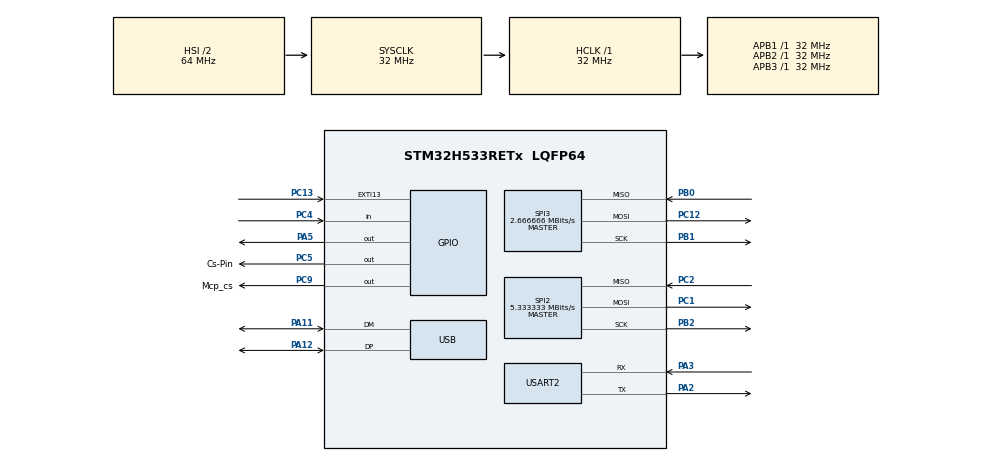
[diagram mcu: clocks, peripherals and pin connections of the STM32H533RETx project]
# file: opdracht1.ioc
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BOOTPATH.BootPathName=LEGACY
BOOTPATH.UserSelectedBootPath=LEGACY
CORTEX_M33_NS.userName=CORTEX_M33
Mcu.Family=STM32H5
Mcu.Name=STM32H533RETx
Mcu.Package=LQFP64
NUCLEO-H533RE.BUTTON=1
NUCLEO-H533RE.LD4=true
NUCLEO-H533RE.VCP=false
NVIC.EXTI13_IRQn=true\:0\:0\:false\:false\:true\:false\:true\:true
NVIC.PriorityGroup=NVIC_PRIORITYGROUP_4
NVIC.SPI3_IRQn=true\:0\:0\:false\:false\:true\:true\:true\:true
NVIC.USB_DRD_FS_IRQn=true\:0\:0\:false\:false\:true\:true\:true\:true
PA11.Mode=Device
PA11.Signal=USB_DM
PA12.Mode=Device
PA12.Signal=USB_DP
PA13(JTMS/SWDIO).GPIO_Label=SWDIO
PA13(JTMS/SWDIO).Signal=DEBUG_JTMS-SWDIO
PA14(JTCK/SWCLK).GPIO_Label=SWCLK
PA14(JTCK/SWCLK).Signal=DEBUG_JTCK-SWCLK
PA15(JTDI).GPIO_Label=JTDI
PA15(JTDI).Signal=DEBUG_JTDI
PA2.Mode=Asynchronous
PA2.Signal=USART2_TX
PA3.Mode=Asynchronous
PA3.Signal=USART2_RX
PA5.Signal=GPIO_Output
PB0.Mode=Full_Duplex_Master
PB0.Signal=SPI3_MISO
PB1.Mode=Full_Duplex_Master
PB1.Signal=SPI3_SCK
PB2.Mode=Full_Duplex_Master
PB2.Signal=SPI2_SCK
PB3(JTDO/TRACESWO).GPIO_Label=SWO
PB3(JTDO/TRACESWO).Signal=DEBUG_JTDO-SWO
PC1.Mode=Full_Duplex_Master
PC1.Signal=SPI2_MOSI
PC12.Mode=Full_Duplex_Master
PC12.Signal=SPI3_MOSI
PC13.Signal=GPXTI13
PC2.Mode=Full_Duplex_Master
PC2.Signal=SPI2_MISO
PC4.Signal=GPIO_Input
PC5.GPIO_Label=Cs-Pin
PC5.PinState=GPIO_PIN_SET
PC5.Signal=GPIO_Output
PC9.GPIO_Label=Mcp_cs
PC9.GPIO_PuPd=GPIO_NOPULL
PC9.PinState=GPIO_PIN_SET
PC9.Signal=GPIO_Output
ProjectManager.HeapSize=0x200
ProjectManager.StackSize=0x400
ProjectManager.TargetToolchain=MDK-ARM V5.37
RCC.ADCFreq_Value=32000000
RCC.AHBFreq_Value=32000000
RCC.APB1Freq_Value=32000000
RCC.APB1TimFreq_Value=32000000
RCC.APB2Freq_Value=32000000
RCC.APB2TimFreq_Value=32000000
RCC.APB3Freq_Value=32000000
RCC.CSI_VALUE=4000000
RCC.CortexFreq_Value=32000000
RCC.EPOD_VALUE=4000000
RCC.HCLKFreq_Value=32000000
RCC.HSE_VALUE=25000000
RCC.HSI48_VALUE=48000000
RCC.HSI_VALUE=64000000
RCC.LSE_VALUE=32768
RCC.LSIRC_VALUE=32000
RCC.PLL1Q=3
RCC.PLLFRACN=0
RCC.PLLN=32
RCC.SYSCLKFreq_VALUE=32000000
RCC.USBFreq_Value=48000000
RCC.VCOOutputFreq_Value=128000000
SPI2.BaudRatePrescaler=SPI_BAUDRATEPRESCALER_8
SPI2.CalculateBaudRate=5.333333 MBits/s
SPI2.DataSize=SPI_DATASIZE_8BIT
SPI2.Direction=SPI_DIRECTION_2LINES
SPI2.Mode=SPI_MODE_MASTER
SPI2.VirtualType=VM_MASTER
SPI3.BaudRatePrescaler=SPI_BAUDRATEPRESCALER_16
SPI3.CalculateBaudRate=2.666666 MBits/s
SPI3.DataSize=SPI_DATASIZE_8BIT
SPI3.Direction=SPI_DIRECTION_2LINES
SPI3.Mode=SPI_MODE_MASTER
SPI3.VirtualType=VM_MASTER
USART2.VirtualMode-Asynchronous=VM_ASYNC
USB.VirtualMode=Device_Only
VP_BOOTPATH_VS_BOOTPATH.Mode=BP_Activate
VP_CORTEX_M33_NS_VS_Hclk.Mode=Hclk_Mode
VP_ICACHE_VS_ENABLE_ICACHE_MEMORY.Mode=Memoryregions
VP_MEMORYMAP_VS_MEMORYMAP.Mode=CurAppReg
VP_NUCLEO-H533RE_VS_BSP_COMMON.Mode=COMMON
VP_PWR_VS_LPOM.Mode=PowerOptimisation
VP_PWR_VS_SECSignals.Mode=Security/Privilege
board=NUCLEO-H533RE

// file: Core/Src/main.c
/* USER CODE BEGIN Header */
/**
  ******************************************************************************
  * @file           : main.c
  * @brief          : Main program body
  ******************************************************************************
  * @attention
  *
  * Copyright (c) 2026 STMicroelectronics.
  * All rights reserved.
  *
  * This software is licensed under terms that can be found in the LICENSE file
  * in the root directory of this software component.
  * If no LICENSE file comes with this software, it is provided AS-IS.
  *
  ******************************************************************************
  */
/* USER CODE END Header */
#include "main.h"

/* USER CODE BEGIN Includes */
#include "tusb.h"
#include <stdio.h>
#include <stdbool.h>
#include <string.h>
/* USER CODE END Includes */

/* USER CODE BEGIN PD */
#define SPI_IO_TIMEOUT_MS 50U

/* USER CODE END PD */

SPI_HandleTypeDef hspi2;
SPI_HandleTypeDef hspi3;

UART_HandleTypeDef huart2;

PCD_HandleTypeDef hpcd_USB_DRD_FS;

/* USER CODE BEGIN PV */

// ============================================================
// TOESTAND VAN ELKE KNOP IN DE MATRIX
// ============================================================
// Voor elke knop houden we vier dingen bij in een struct:
typedef struct {
  bool current_state;        // Huidige toestand: true = ingedrukt, false = losgelaten
  bool previous_state;       // Vorige toestand (om te zien of er iets veranderd is)
  uint32_t last_change_time; // Tijdstip (ms) waarop de toestand voor het laatst veranderde
  bool debounce_stable;      // true = toestandsverandering is stabiel en mag verwerkt worden
} ButtonState_t;

// Tweedimensionaal array: één ButtonState_t per knop [rij][kolom]
ButtonState_t button_matrix[MATRIX_ROWS][MATRIX_COLS];

/* USER CODE END PV */

void SystemClock_Config(void);
static void MX_GPIO_Init(void);
static void MX_USB_PCD_Init(void);
static void MX_SPI2_Init(void);
static void MX_USART2_UART_Init(void);
static void MX_ICACHE_Init(void);
static void MX_SPI3_Init(void);
/* USER CODE BEGIN PFP */
void MCP23S17_WriteRegister(uint8_t reg, uint8_t value);
uint8_t MCP23S17_ReadRegister(uint8_t reg);
void MCP23S17_Init(void);
void ScanButtonMatrix(void);
void ProcessButtonEvents(void);
/* USER CODE END PFP */

/* USER CODE BEGIN 0 */

// TinyUSB requires this function for timing
uint32_t tusb_time_millis_api(void) {
  return HAL_GetTick();
}

/**
 * @brief Print debug message via UART2
 * @param msg: String to print
 */
void Debug_Print(const char* msg) {
  HAL_UART_Transmit(&huart2, (uint8_t*)msg, strlen(msg), 100);
}

/**
 * @brief Print debug message with number
 * @param msg: String to print
 * @param num: Number to print
 */
void Debug_PrintNum(const char* msg, uint8_t num) {
  char buffer[100];
  snprintf(buffer, sizeof(buffer), "%s%d\r\n", msg, num);
  Debug_Print(buffer);
}

/**
 * @brief Write a value to an MCP23S17 register
 * @param reg: Register address
 * @param value: Value to write
 */
void MCP23S17_WriteRegister(uint8_t reg, uint8_t value) {
  uint8_t tx_data[3];

  tx_data[0] = MCP23S17_WRITE_CMD;  // Control byte (write)
  tx_data[1] = reg;                  // Register address
  tx_data[2] = value;                // Data to write

  // Pull CS low
  HAL_GPIO_WritePin(Mcp_cs_GPIO_Port, Mcp_cs_Pin, GPIO_PIN_RESET);

  // Small delay for CS to settle (tCSS = 50ns min)
  for(volatile int i = 0; i < 10; i++);

  // Send data via SPI
  if (HAL_SPI_Transmit(&hspi3, tx_data, 3, SPI_IO_TIMEOUT_MS) != HAL_OK) {
    HAL_GPIO_WritePin(Mcp_cs_GPIO_Port, Mcp_cs_Pin, GPIO_PIN_SET);
    return;
  }

  // Small delay before CS high (tCSH = 50ns min)
  for(volatile int i = 0; i < 10; i++);

  // Pull CS high
  HAL_GPIO_WritePin(Mcp_cs_GPIO_Port, Mcp_cs_Pin, GPIO_PIN_SET);

  // CS disable time (tCSD = 50ns min)
  for(volatile int i = 0; i < 10; i++);
}

/**
 * @brief Read a value from an MCP23S17 register
 * @param reg: Register address
 * @return Value read from register
 */
uint8_t MCP23S17_ReadRegister(uint8_t reg) {
  uint8_t tx_data[3] = {MCP23S17_READ_CMD, reg, 0x00};
  uint8_t rx_data[3] = {0};

  // Pull CS low
  HAL_GPIO_WritePin(Mcp_cs_GPIO_Port, Mcp_cs_Pin, GPIO_PIN_RESET);

  // Small delay for CS to settle (tCSS = 50ns min)
  for(volatile int i = 0; i < 10; i++);

  // Send read command + register and clock out one data byte
  if (HAL_SPI_TransmitReceive(&hspi3, tx_data, rx_data, 3, SPI_IO_TIMEOUT_MS) != HAL_OK) {
    HAL_GPIO_WritePin(Mcp_cs_GPIO_Port, Mcp_cs_Pin, GPIO_PIN_SET);
    return 0xFF;
  }

  // Small delay before CS high (tCSH = 50ns min)
  for(volatile int i = 0; i < 10; i++);

  // Pull CS high
  HAL_GPIO_WritePin(Mcp_cs_GPIO_Port, Mcp_cs_Pin, GPIO_PIN_SET);

  // CS disable time (tCSD = 50ns min)
  for(volatile int i = 0; i < 10; i++);

  return rx_data[2];
}

/**
 * @brief Initialize the MCP23S17 for button matrix scanning
 */
void MCP23S17_Init(void) {
  // Small delay for MCP23S17 power-up
  HAL_Delay(100);  // Verhoogd naar 100ms voor stabiele startup

  // Debug: Show what opcodes we're using
  char opcode_debug[100];
  snprintf(opcode_debug, sizeof(opcode_debug),
    "  Using opcodes: WRITE=0x%02X, READ=0x%02X\r\n",
    MCP23S17_WRITE_CMD, MCP23S17_READ_CMD);
  Debug_Print(opcode_debug);

  Debug_Print("  Configuring IOCON (trying HAEN=1 first)...\r\n");
  // PROBEER EERST MET HAEN=1 (bit 3)
  // BANK=0, MIRROR=0, SEQOP=0, DISSLW=0, HAEN=1, ODR=0, INTPOL=0
  MCP23S17_WriteRegister(MCP23S17_IOCON, 0x08); // HAEN enabled
  HAL_Delay(10);

  // Test of het werkt
  uint8_t iocon_test = MCP23S17_ReadRegister(MCP23S17_IOCON);
  snprintf(opcode_debug, sizeof(opcode_debug),
    "  IOCON readback: 0x%02X (wrote 0x08)\r\n", iocon_test);
  Debug_Print(opcode_debug);

  if (iocon_test == 0xFF || iocon_test == 0x00) {
    Debug_Print("  HAEN=1 failed, trying HAEN=0...\r\n");
    MCP23S17_WriteRegister(MCP23S17_IOCON, 0x00); // HAEN disabled
    HAL_Delay(10);
  }

  Debug_Print("  Configuring PORTA as outputs...\r\n");
  // Configure Port A (GPA0-GPA3) as OUTPUTS for columns
  MCP23S17_WriteRegister(MCP23S17_IODIRA, 0x00); // All outputs

  Debug_Print("  Configuring PORTB as inputs...\r\n");
  // Configure Port B (GPB0-GPB3) as INPUTS for rows
  MCP23S17_WriteRegister(MCP23S17_IODIRB, 0x0F); // Lower 4 bits as inputs

  Debug_Print("  Enabling pull-ups on PORTB...\r\n");
  // Enable internal pull-up resistors on Port B (rows)
  MCP23S17_WriteRegister(MCP23S17_GPPUB, 0x0F); // Pull-ups on GPB0-GPB3

  Debug_Print("  Setting all columns HIGH...\r\n");
  // Set all columns HIGH initially (inactive state)
  MCP23S17_WriteRegister(MCP23S17_GPIOA, 0xFF);

  // TEST: Lees configuratie terug om te verifiëren
  Debug_Print("\r\n  === VERIFICATION READS ===\r\n");

  uint8_t test_iocon = MCP23S17_ReadRegister(MCP23S17_IOCON);
  uint8_t test_iodira = MCP23S17_ReadRegister(MCP23S17_IODIRA);
  uint8_t test_iodirb = MCP23S17_ReadRegister(MCP23S17_IODIRB);
  uint8_t test_gppub = MCP23S17_ReadRegister(MCP23S17_GPPUB);
  uint8_t test_gpioa = MCP23S17_ReadRegister(MCP23S17_GPIOA);
  uint8_t test_gpiob = MCP23S17_ReadRegister(MCP23S17_GPIOB);

  char buf[100];
  snprintf(buf, sizeof(buf), "  IOCON: 0x%02X (expect 0x00)\r\n", test_iocon);
  Debug_Print(buf);
  snprintf(buf, sizeof(buf), "  IODIRA: 0x%02X (expect 0x00 = outputs)\r\n", test_iodira);
  Debug_Print(buf);
  snprintf(buf, sizeof(buf), "  IODIRB: 0x%02X (expect 0x0F = inputs bits 0-3)\r\n", test_iodirb);
  Debug_Print(buf);
  snprintf(buf, sizeof(buf), "  GPPUB: 0x%02X (expect 0x0F = pull-ups on)\r\n", test_gppub);
  Debug_Print(buf);
  snprintf(buf, sizeof(buf), "  GPIOA: 0x%02X (expect 0xFF = all HIGH)\r\n", test_gpioa);
  Debug_Print(buf);
  snprintf(buf, sizeof(buf), "  GPIOB: 0x%02X (expect 0x0F = all HIGH with pull-ups)\r\n", test_gpiob);
  Debug_Print(buf);

  // SPI communicatie diagnose
  if (test_iodira == 0xFF && test_iodirb == 0xFF) {
    Debug_Print("\r\n  *** ERROR: SPI reads all 0xFF - possible no device! ***\r\n");
  } else if (test_iodira == 0x00 && test_iodirb == 0x00 && test_gppub == 0x00) {
    Debug_Print("\r\n  *** ERROR: SPI reads all 0x00 - check SPI wiring! ***\r\n");
  } else if (test_gpiob != 0x0F) {
    Debug_Print("\r\n  *** WARNING: GPIOB not 0x0F - check pull-ups or wiring! ***\r\n");
  } else {
    Debug_Print("\r\n  *** SUCCESS: MCP23S17 configured correctly! ***\r\n");
  }
  Debug_Print("\r\n");
}

/**
 * @brief Scan de 4x4 knoppenmatrix en sla de knoptoestanden op.
 *
 * HOE WERKT EEN KNOPPENMATRIX?
 * De matrix heeft 4 kolommen (uitgangen) en 4 rijen (ingangen).
 * We activeren één kolom tegelijk door die LOW te zetten.
 * Daarna lezen we de 4 rijen: als een knop in die kolom ingedrukt
 * is, verbindt hij de rij met de lage kolom → de rij leest LOW.
 * Zo bepalen we voor elke knop of hij ingedrukt is.
 */
void ScanButtonMatrix(void) {
  static uint32_t last_scan = 0;
  static uint32_t last_debug = 0;
  static bool debug_printed = false;
  uint32_t now = HAL_GetTick(); // Huidig tijdstip in milliseconden

  // Scan maar elke 5 ms om de processor niet onnodig te belasten
  if (now - last_scan < 5) {
    return; // Nog geen 5 ms verstreken → sla deze scan over
  }
  last_scan = now;

  // Print debug info elke 5 seconden
  bool print_debug = (now - last_debug > 5000);
  if (print_debug) {
    Debug_Print("\r\n--- Matrix Scan Debug ---\r\n");
    last_debug = now;
  }

  for (uint8_t col = 0; col < MATRIX_COLS; col++) {
    // Stap 1: Zet de actieve kolom LOW, alle andere kolommen HIGH.
    // Voorbeeld: col=0 → col_pattern = 0b11111110
    // Alleen bit 0 is laag, de rest hoog.
    uint8_t col_pattern = ~(1 << col);
    MCP23S17_WriteRegister(MCP23S17_GPIOA, col_pattern);

    // Kleine vertraging zodat het signaal stabiel is voor we lezen
    for(volatile int i = 0; i < 100; i++); // ca. 10 microseconden

    // Stap 2: Lees de 4 rijwaarden van Port B.
    // Elke bit staat voor één rij: 0 = laag (knop ingedrukt), 1 = hoog (niet ingedrukt).
    uint8_t row_values = MCP23S17_ReadRegister(MCP23S17_GPIOB);

    if (print_debug && col == 0) {
      char buf[80];
      snprintf(buf, sizeof(buf), "Col %d: Write=0x%02X, Read GPIOB=0x%02X\r\n", col, col_pattern, row_values);
      Debug_Print(buf);
    }

    // Stap 3: Controleer elke rij
    for (uint8_t row = 0; row < MATRIX_ROWS; row++) {
      // De knop is ingedrukt als de bijbehorende bit LOW is (logische inversie!).
      // '!' keert de waarde om: LOW (0) wordt true (ingedrukt).
      bool is_pressed = !(row_values & (1 << row));

      ButtonState_t* btn = &button_matrix[row][col]; // Verwijzing naar deze knop

      // --- DEBOUNCE LOGICA ---
      // Mechanische knoppen 'stuiteren' even bij indrukken/loslaten.
      // We accepteren een toestandsverandering pas als die minstens
      // DEBOUNCE_TIME_MS milliseconden stabiel is.
      if (is_pressed != btn->current_state) {
        // Er is een verschil met de vorige toestand
        if ((now - btn->last_change_time) > DEBOUNCE_TIME_MS) {
          // Genoeg tijd verstreken → toestandsverandering is echt
          btn->previous_state = btn->current_state;
          btn->current_state = is_pressed;   // Sla nieuwe toestand op
          btn->last_change_time = now;        // Onthoud het tijdstip
          btn->debounce_stable = true;        // Klaarzetten voor verwerking

          // DEBUG: Knippert de LED bij elke knopverandering
          BSP_LED_Toggle(LED_GREEN);
        }
      }
    }
  }

  // Deactiveer alle kolommen na de scan (alles hoog = inactief)
  MCP23S17_WriteRegister(MCP23S17_GPIOA, 0xFF);
}

/**
 * @brief Verwerk knoptoestandsveranderingen en stuur MIDI-berichten.
 *
 * MIDI NOOT-MAPPING:
 * Elke knop in de matrix krijgt een uniek MIDI-nootnummer.
 * Formule:  midi_noot = BASIS_NOOT + (rij x 4) + kolom
 *
 * Uitleg van de formule:
 *  - BASIS_NOOT (60) is het startpunt = Midden C (C4).
 *  - (rij x 4): elke rij telt 4 kolommen, dus elke rij lager
 *    verhoogt de noot met 4 halve tonen.
 *  - kolom: elke stap naar rechts verhoogt de noot met 1 halve toon.
 *
 * Voorbeelden:
 *  - Knop [rij=0, col=0]: 60 + (0x4) + 0 = 60  → C4  (Midden C)
 *  - Knop [rij=0, col=3]: 60 + (0x4) + 3 = 63  → D#4
 *  - Knop [rij=1, col=0]: 60 + (1x4) + 0 = 64  → E4
 *  - Knop [rij=3, col=3]: 60 + (3x4) + 3 = 75  → D#5
 *
 * MIDI BERICHTFORMAAT (3 bytes):
 *  Byte 0: Status   → 0x90 = Note ON  op kanaal 1
 *                     0x80 = Note OFF op kanaal 1
 *  Byte 1: Nootnummer (0-127)
 *  Byte 2: Velocity  → 127 = maximale aanslagsterkte (indrukken)
 *                        0 = stilte (loslaten)
 */
void ProcessButtonEvents(void) {
  for (uint8_t row = 0; row < MATRIX_ROWS; row++) {
    for (uint8_t col = 0; col < MATRIX_COLS; col++) {
      ButtonState_t* btn = &button_matrix[row][col];

      // Alleen verwerken als de debouncetijd verstreken is én er iets veranderd is
      if (btn->debounce_stable) {

        // --- MIDI NOOT BEREKENING ---
        // Pas de formule toe: midi_noot = BASIS_NOOT + (rij x 4) + kolom
        // BASE_NOTE = 60 (gedefinieerd in main.h)
        uint8_t midi_note = BASE_NOTE + (row * 4) + col;

        if (btn->current_state) {
          // Knop INGEDRUKT → stuur Note ON bericht
          // 0x90 = Note ON commando op MIDI-kanaal 1
          // midi_note = het berekende nootnummer
          // 127 = maximale velocity (aanslagsterkte)
          uint8_t note_on[3] = {0x90, midi_note, 127};

          // Debug output
          char debug_msg[50];
          snprintf(debug_msg, sizeof(debug_msg), "BTN[%d,%d] PRESSED -> Note ON %d\r\n", row, col, midi_note);
          Debug_Print(debug_msg);

          if (tud_mounted()) { // Controleer of de USB-verbinding actief is
            tud_midi_stream_write(0, note_on, 3); // Stuur 3 bytes via USB-MIDI
          } else {
            Debug_Print("  (USB not mounted)\r\n");
          }
        } else {
          // Knop LOSGELATEN → stuur Note OFF bericht
          // 0x80 = Note OFF commando op MIDI-kanaal 1
          // midi_note = hetzelfde nootnummer als bij Note ON
          // 0 = velocity 0 (toon stoppen)
          uint8_t note_off[3] = {0x80, midi_note, 0};

          // Debug output
          char debug_msg[50];
          snprintf(debug_msg, sizeof(debug_msg), "BTN[%d,%d] RELEASED -> Note OFF %d\r\n", row, col, midi_note);
          Debug_Print(debug_msg);

          if (tud_mounted()) { // Controleer of de USB-verbinding actief is
            tud_midi_stream_write(0, note_off, 3); // Stuur 3 bytes via USB-MIDI
          } else {
            Debug_Print("  (USB not mounted)\r\n");
          }
        }

        // Markeer als verwerkt zodat we dit bericht niet opnieuw sturen
        btn->debounce_stable = false;
      }
    }
  }
}

/* USER CODE END 0 */

int main(void)
{

  /* MCU Configuration--------------------------------------------------------*/

  /* Reset of all peripherals, Initializes the Flash interface and the Systick. */
  HAL_Init();

  /* Configure the system clock */
  SystemClock_Config();

  /* Initialize all configured peripherals */
  MX_GPIO_Init();
  MX_USB_PCD_Init();
  MX_SPI2_Init();
  MX_USART2_UART_Init();
  MX_ICACHE_Init();
  MX_SPI3_Init();
  /* USER CODE BEGIN 2 */

  // EERSTE TEST: Stuur test bericht direct na UART init
  HAL_Delay(100); // Kleine delay voor UART stabilisatie

  // Initialize the onboard LED
  BSP_LED_Init(LED_GREEN);

  // Send startup message
  Debug_Print("\r\n=================================\r\n");
  Debug_Print("MIDI Controller Initializing...\r\n");
  Debug_Print("=================================\r\n");

  // Initialize TinyUSB
  Debug_Print("Initializing USB MIDI...\r\n");
  tusb_init();

  // Initialize MCP23S17 I/O expander for button matrix
  Debug_Print("Initializing MCP23S17...\r\n");

  // Show which pins are actually configured for SPI3
  Debug_Print("\r\n  === SPI3 PIN CONFIGURATION ===\r\n");
  Debug_Print("  SPI3 is configured as:\r\n");
  Debug_Print("    - SPI3_MOSI = PC12\r\n");
  Debug_Print("    - SPI3_MISO = PB0\r\n");
  Debug_Print("    - SPI3_SCK  = PB1\r\n");
  Debug_Print("    - CS (manual) = PC9\r\n\r\n");

  // HARDWARE TEST 1: Check Chip Select pin
  Debug_Print("  Testing CS pin (PC9)...\r\n");
  HAL_GPIO_WritePin(Mcp_cs_GPIO_Port, Mcp_cs_Pin, GPIO_PIN_SET);
  HAL_Delay(10);
  GPIO_PinState cs_high = HAL_GPIO_ReadPin(Mcp_cs_GPIO_Port, Mcp_cs_Pin);
  HAL_GPIO_WritePin(Mcp_cs_GPIO_Port, Mcp_cs_Pin, GPIO_PIN_RESET);
  HAL_Delay(10);
  GPIO_PinState cs_low = HAL_GPIO_ReadPin(Mcp_cs_GPIO_Port, Mcp_cs_Pin);
  HAL_GPIO_WritePin(Mcp_cs_GPIO_Port, Mcp_cs_Pin, GPIO_PIN_SET);

  char cs_buf[80];
  snprintf(cs_buf, sizeof(cs_buf), "  CS toggle test: HIGH=%d, LOW=%d (expect 1,0)\r\n", cs_high, cs_low);
  Debug_Print(cs_buf);

  // CRITICAL: Test if MISO can be read as HIGH
  Debug_Print("\r\n  *** CRITICAL MISO PIN TEST ***\r\n");
  Debug_Print("  Reading MISO (PB0) state without SPI...\r\n");

  // Temporarily reconfigure PB0 as input with pull-up
  GPIO_InitTypeDef GPIO_InitStruct = {0};
  GPIO_InitStruct.Pin = GPIO_PIN_0;
  GPIO_InitStruct.Mode = GPIO_MODE_INPUT;
  GPIO_InitStruct.Pull = GPIO_PULLUP;
  HAL_GPIO_Init(GPIOB, &GPIO_InitStruct);
  HAL_Delay(10);

  GPIO_PinState miso_pullup = HAL_GPIO_ReadPin(GPIOB, GPIO_PIN_0);

  // Try with pull-down
  GPIO_InitStruct.Pull = GPIO_PULLDOWN;
  HAL_GPIO_Init(GPIOB, &GPIO_InitStruct);
  HAL_Delay(10);
  GPIO_PinState miso_pulldown = HAL_GPIO_ReadPin(GPIOB, GPIO_PIN_0);

  // Restore PB0 to SPI function
  MX_SPI3_Init();

  char miso_buf[100];
  snprintf(miso_buf, sizeof(miso_buf),
    "  MISO with pull-up: %d, with pull-down: %d\r\n",
    miso_pullup, miso_pulldown);
  Debug_Print(miso_buf);

  if (miso_pullup == 0) {
    Debug_Print("  *** ERROR: MISO stuck LOW! ***\r\n");
    Debug_Print("  Possible causes:\r\n");
    Debug_Print("    - PB0 shorted to GND\r\n");
    Debug_Print("    - MCP23S17 SO pin damaged\r\n");
    Debug_Print("    - Wrong pin in .ioc file\r\n\r\n");
  } else if (miso_pulldown == 1) {
    Debug_Print("  *** ERROR: MISO stuck HIGH! ***\r\n");
    Debug_Print("    - PB0 shorted to 3.3V\r\n\r\n");
  } else {
    Debug_Print("  MISO pin can toggle - hardware OK!\r\n\r\n");
  }

  // ***** CRITICAL: Test if MCP23S17 is powered and responding *****
  Debug_Print("  *** MCP23S17 POWER TEST ***\r\n");
  Debug_Print("  Check with multimeter:\r\n");
  Debug_Print("    1. VDD (pin 9) should be 3.3V\r\n");
  Debug_Print("    2. VSS (pin 6) should be 0V (GND)\r\n");
  Debug_Print("    3. RESET (pin 18) should be 3.3V\r\n");
  Debug_Print("    4. A0, A1, A2 (pins 12,13,17) should be 0V (GND)\r\n");
  Debug_Print("    5. CS (pin 11) should be 3.3V when idle\r\n\r\n");

  Debug_Print("  Reading MCP23S17 IODIR defaults (should be 0xFF)...\r\n");
  HAL_GPIO_WritePin(Mcp_cs_GPIO_Port, Mcp_cs_Pin, GPIO_PIN_RESET);
  HAL_Delay(1);

  uint8_t read_cmd[] = {0x41, 0x00, 0x00};  // READ opcode, IODIRA register
  uint8_t read_reply[3] = {0};
  HAL_StatusTypeDef status = HAL_SPI_TransmitReceive(&hspi3, read_cmd, read_reply, 3, 100);

  HAL_GPIO_WritePin(Mcp_cs_GPIO_Port, Mcp_cs_Pin, GPIO_PIN_SET);

  char power_buf[120];
  snprintf(power_buf, sizeof(power_buf),
    "  Default IODIRA read: 0x%02X (expect 0xFF if chip is working)\r\n",
    read_reply[2]);
  Debug_Print(power_buf);

  if (read_reply[2] == 0xFF) {
    Debug_Print("  SUCCESS! MCP23S17 is responding!\r\n\r\n");
  } else if (read_reply[2] == 0x00) {
    Debug_Print("  ERROR: Chip returns 0x00 - MISO stuck LOW or chip not powered!\r\n");
    Debug_Print("    -> Check VDD, RESET, and MISO wiring\r\n\r\n");
  } else {
    snprintf(power_buf, sizeof(power_buf),
      "  WARNING: Unexpected value 0x%02X - chip may be in unknown state\r\n\r\n",
      read_reply[2]);
    Debug_Print(power_buf);
  }

  // HARDWARE TEST 2: Check if SPI is working at all
  Debug_Print("\r\n  Testing SPI communication...\r\n");
  Debug_Print("  Sending: [0xAA 0x55 0xFF]\r\n");
  uint8_t spi_test_tx[3] = {0xAA, 0x55, 0xFF};
  uint8_t spi_test_rx[3] = {0x00, 0x00, 0x00};

  HAL_GPIO_WritePin(Mcp_cs_GPIO_Port, Mcp_cs_Pin, GPIO_PIN_RESET);
  HAL_StatusTypeDef spi_status = HAL_SPI_TransmitReceive(&hspi3, spi_test_tx, spi_test_rx, 3, 100);
  HAL_GPIO_WritePin(Mcp_cs_GPIO_Port, Mcp_cs_Pin, GPIO_PIN_SET);

  char spi_buf[120];
  snprintf(spi_buf, sizeof(spi_buf),
    "  SPI Status: %d (0=OK), Received: [0x%02X 0x%02X 0x%02X]\r\n",
    spi_status, spi_test_rx[0], spi_test_rx[1], spi_test_rx[2]);
  Debug_Print(spi_buf);

  if (spi_test_rx[0] == 0x00 && spi_test_rx[1] == 0x00 && spi_test_rx[2] == 0x00) {
    Debug_Print("\r\n  *** ERROR: MCP23S17 NOT RESPONDING! ***\r\n");
    Debug_Print("  Hardware checklist:\r\n");
    Debug_Print("    [ ] MCP23S17 VDD (pin 9) connected to 3.3V?\r\n");
    Debug_Print("    [ ] MCP23S17 VSS (pin 6) connected to GND?\r\n");
    Debug_Print("    [ ] MCP23S17 RESET (pin 18) connected to 3.3V?\r\n");
    Debug_Print("    [ ] A0, A1, A2 (pins 12,13,17) connected to GND?\r\n");
    Debug_Print("    [ ] MISO wire (PB0 to MCP pin 15) connected?\r\n");
    Debug_Print("    [ ] Chip orientation correct (check pin 1)?\r\n");
    Debug_Print("\r\n  💡 TIP: Try loopback test:\r\n");
    Debug_Print("     Temporarily connect PC12 (MOSI) to PB0 (MISO)\r\n");
    Debug_Print("     If you see [0xAA 0x55 0xFF], SPI pins work!\r\n\r\n");
  } else if (spi_test_rx[0] == 0xFF && spi_test_rx[1] == 0xFF && spi_test_rx[2] == 0xFF) {
    Debug_Print("\r\n  *** WARNING: SPI MISO floating (all 0xFF)! ***\r\n");
    Debug_Print("  MISO (PB0) not connected or MCP23S17 not powered\r\n\r\n");
  } else {
    Debug_Print("  ✅ SPI communication OK - MCP23S17 responding!\r\n\r\n");
  }

  // HARDWARE TEST 3: Try different opcodes if needed
  Debug_Print("  Testing MCP23S17 opcodes...\r\n");

  // Test met HAEN disabled opcode (A2-A0 = don't care when HAEN=0)
  uint8_t test_opcodes[][2] = {
    {0x40, 0x41},  // Current: A2-A0 = 000
    {0x42, 0x43},  // Try: A2-A0 = 001
    {0x4E, 0x4F}   // Try: A2-A0 = 111
  };

  for(int i = 0; i < 3; i++) {
    uint8_t write_op = test_opcodes[i][0];
    uint8_t read_op = test_opcodes[i][1];

    // Try to read IOCON with this opcode
    uint8_t test_tx[3] = {read_op, 0x0A, 0x00};  // Read IOCON register
    uint8_t test_rx[3] = {0};

    HAL_GPIO_WritePin(Mcp_cs_GPIO_Port, Mcp_cs_Pin, GPIO_PIN_RESET);
    for(volatile int j = 0; j < 10; j++);
    HAL_SPI_TransmitReceive(&hspi3, test_tx, test_rx, 3, 100);
    for(volatile int j = 0; j < 10; j++);
    HAL_GPIO_WritePin(Mcp_cs_GPIO_Port, Mcp_cs_Pin, GPIO_PIN_SET);

    char test_buf[100];
    snprintf(test_buf, sizeof(test_buf),
      "    Opcode 0x%02X/0x%02X: IOCON = 0x%02X\r\n",
      write_op, read_op, test_rx[2]);
    Debug_Print(test_buf);

    if (test_rx[2] != 0xFF && test_rx[2] != 0x00) {
      snprintf(test_buf, sizeof(test_buf),
        "    SUCCESS: Found working opcode! Use 0x%02X (write) / 0x%02X (read)\r\n\r\n",
        write_op, read_op);
      Debug_Print(test_buf);
      break;
    }
  }

  MCP23S17_Init();
  Debug_Print("MCP23S17 configured\r\n");

  // Initialize button states
  Debug_Print("Initializing 4x4 button matrix...\r\n");
  for (uint8_t r = 0; r < MATRIX_ROWS; r++) {
    for (uint8_t c = 0; c < MATRIX_COLS; c++) {
      button_matrix[r][c].current_state = false;
      button_matrix[r][c].previous_state = false;
      button_matrix[r][c].last_change_time = 0;
      button_matrix[r][c].debounce_stable = false;
    }
  }

  Debug_Print("Initialization complete!\r\n");
  Debug_Print("Waiting for button presses...\r\n\r\n");

  /* USER CODE END 2 */

  /* Initialize leds */
  BSP_LED_Init(LED_GREEN);

  /* Initialize USER push-button, will be used to trigger an interrupt each time it's pressed.*/
  BSP_PB_Init(BUTTON_USER, BUTTON_MODE_EXTI);

  /* Infinite loop */
  /* USER CODE BEGIN WHILE */

  uint32_t last_heartbeat = 0;

  while (1)
  {
    // Heartbeat LED - blink every second to show code is running
    uint32_t now = HAL_GetTick();
    if (now - last_heartbeat > 1000) {
      BSP_LED_Toggle(LED_GREEN);
      last_heartbeat = now;
    }

    // TinyUSB device task - handles USB communication
    tud_task();

    // Scan button matrix for changes
    ScanButtonMatrix();

    // Process button events and send MIDI messages
    ProcessButtonEvents();

    /* USER CODE END WHILE */

  }
}

void SystemClock_Config(void)
{
  RCC_OscInitTypeDef RCC_OscInitStruct = {0};
  RCC_ClkInitTypeDef RCC_ClkInitStruct = {0};

  /** Configure the main internal regulator output voltage
  */
  __HAL_PWR_VOLTAGESCALING_CONFIG(PWR_REGULATOR_VOLTAGE_SCALE3);

  while(!__HAL_PWR_GET_FLAG(PWR_FLAG_VOSRDY)) {}

  /** Initializes the RCC Oscillators according to the specified parameters
  * in the RCC_OscInitTypeDef structure.
  */
  RCC_OscInitStruct.OscillatorType = RCC_OSCILLATORTYPE_HSI48|RCC_OSCILLATORTYPE_HSI
                              |RCC_OSCILLATORTYPE_CSI;
  RCC_OscInitStruct.HSIState = RCC_HSI_ON;
  RCC_OscInitStruct.HSIDiv = RCC_HSI_DIV2;
  RCC_OscInitStruct.HSICalibrationValue = RCC_HSICALIBRATION_DEFAULT;
  RCC_OscInitStruct.HSI48State = RCC_HSI48_ON;
  RCC_OscInitStruct.CSIState = RCC_CSI_ON;
  RCC_OscInitStruct.CSICalibrationValue = RCC_CSICALIBRATION_DEFAULT;
  RCC_OscInitStruct.PLL.PLLState = RCC_PLL_ON;
  RCC_OscInitStruct.PLL.PLLSource = RCC_PLL1_SOURCE_CSI;
  RCC_OscInitStruct.PLL.PLLM = 1;
  RCC_OscInitStruct.PLL.PLLN = 32;
  RCC_OscInitStruct.PLL.PLLP = 2;
  RCC_OscInitStruct.PLL.PLLQ = 3;
  RCC_OscInitStruct.PLL.PLLR = 2;
  RCC_OscInitStruct.PLL.PLLRGE = RCC_PLL1_VCIRANGE_2;
  RCC_OscInitStruct.PLL.PLLVCOSEL = RCC_PLL1_VCORANGE_WIDE;
  RCC_OscInitStruct.PLL.PLLFRACN = 0;
  if (HAL_RCC_OscConfig(&RCC_OscInitStruct) != HAL_OK)
  {
    Error_Handler();
  }

  /** Initializes the CPU, AHB and APB buses clocks
  */
  RCC_ClkInitStruct.ClockType = RCC_CLOCKTYPE_HCLK|RCC_CLOCKTYPE_SYSCLK
                              |RCC_CLOCKTYPE_PCLK1|RCC_CLOCKTYPE_PCLK2
                              |RCC_CLOCKTYPE_PCLK3;
  RCC_ClkInitStruct.SYSCLKSource = RCC_SYSCLKSOURCE_HSI;
  RCC_ClkInitStruct.AHBCLKDivider = RCC_SYSCLK_DIV1;
  RCC_ClkInitStruct.APB1CLKDivider = RCC_HCLK_DIV1;
  RCC_ClkInitStruct.APB2CLKDivider = RCC_HCLK_DIV1;
  RCC_ClkInitStruct.APB3CLKDivider = RCC_HCLK_DIV1;

  if (HAL_RCC_ClockConfig(&RCC_ClkInitStruct, FLASH_LATENCY_1) != HAL_OK)
  {
    Error_Handler();
  }

  /** Configure the programming delay
  */
  __HAL_FLASH_SET_PROGRAM_DELAY(FLASH_PROGRAMMING_DELAY_0);
}

static void MX_ICACHE_Init(void)
{

}

static void MX_SPI2_Init(void)
{

  /* SPI2 parameter configuration*/
  hspi2.Instance = SPI2;
  hspi2.Init.Mode = SPI_MODE_MASTER;
  hspi2.Init.Direction = SPI_DIRECTION_2LINES;
  hspi2.Init.DataSize = SPI_DATASIZE_8BIT;
  hspi2.Init.CLKPolarity = SPI_POLARITY_LOW;
  hspi2.Init.CLKPhase = SPI_PHASE_1EDGE;
  hspi2.Init.NSS = SPI_NSS_SOFT;
  hspi2.Init.BaudRatePrescaler = SPI_BAUDRATEPRESCALER_8;
  hspi2.Init.FirstBit = SPI_FIRSTBIT_MSB;
  hspi2.Init.TIMode = SPI_TIMODE_DISABLE;
  hspi2.Init.CRCCalculation = SPI_CRCCALCULATION_DISABLE;
  hspi2.Init.CRCPolynomial = 0x7;
  hspi2.Init.NSSPMode = SPI_NSS_PULSE_ENABLE;
  hspi2.Init.NSSPolarity = SPI_NSS_POLARITY_LOW;
  hspi2.Init.FifoThreshold = SPI_FIFO_THRESHOLD_01DATA;
  hspi2.Init.MasterSSIdleness = SPI_MASTER_SS_IDLENESS_00CYCLE;
  hspi2.Init.MasterInterDataIdleness = SPI_MASTER_INTERDATA_IDLENESS_00CYCLE;
  hspi2.Init.MasterReceiverAutoSusp = SPI_MASTER_RX_AUTOSUSP_DISABLE;
  hspi2.Init.MasterKeepIOState = SPI_MASTER_KEEP_IO_STATE_DISABLE;
  hspi2.Init.IOSwap = SPI_IO_SWAP_DISABLE;
  hspi2.Init.ReadyMasterManagement = SPI_RDY_MASTER_MANAGEMENT_INTERNALLY;
  hspi2.Init.ReadyPolarity = SPI_RDY_POLARITY_HIGH;
  if (HAL_SPI_Init(&hspi2) != HAL_OK)
  {
    Error_Handler();
  }

}

static void MX_SPI3_Init(void)
{

  /* SPI3 parameter configuration*/
  hspi3.Instance = SPI3;
  hspi3.Init.Mode = SPI_MODE_MASTER;
  hspi3.Init.Direction = SPI_DIRECTION_2LINES;
  hspi3.Init.DataSize = SPI_DATASIZE_8BIT;
  hspi3.Init.CLKPolarity = SPI_POLARITY_LOW;
  hspi3.Init.CLKPhase = SPI_PHASE_1EDGE;
  hspi3.Init.NSS = SPI_NSS_SOFT;
  hspi3.Init.BaudRatePrescaler = SPI_BAUDRATEPRESCALER_16;
  hspi3.Init.FirstBit = SPI_FIRSTBIT_MSB;
  hspi3.Init.TIMode = SPI_TIMODE_DISABLE;
  hspi3.Init.CRCCalculation = SPI_CRCCALCULATION_DISABLE;
  hspi3.Init.CRCPolynomial = 0x7;
  hspi3.Init.NSSPMode = SPI_NSS_PULSE_ENABLE;
  hspi3.Init.NSSPolarity = SPI_NSS_POLARITY_LOW;
  hspi3.Init.FifoThreshold = SPI_FIFO_THRESHOLD_01DATA;
  hspi3.Init.MasterSSIdleness = SPI_MASTER_SS_IDLENESS_00CYCLE;
  hspi3.Init.MasterInterDataIdleness = SPI_MASTER_INTERDATA_IDLENESS_00CYCLE;
  hspi3.Init.MasterReceiverAutoSusp = SPI_MASTER_RX_AUTOSUSP_DISABLE;
  hspi3.Init.MasterKeepIOState = SPI_MASTER_KEEP_IO_STATE_DISABLE;
  hspi3.Init.IOSwap = SPI_IO_SWAP_DISABLE;
  hspi3.Init.ReadyMasterManagement = SPI_RDY_MASTER_MANAGEMENT_INTERNALLY;
  hspi3.Init.ReadyPolarity = SPI_RDY_POLARITY_HIGH;
  if (HAL_SPI_Init(&hspi3) != HAL_OK)
  {
    Error_Handler();
  }

}

static void MX_USART2_UART_Init(void)
{

  huart2.Instance = USART2;
  huart2.Init.BaudRate = 115200;
  huart2.Init.WordLength = UART_WORDLENGTH_8B;
  huart2.Init.StopBits = UART_STOPBITS_1;
  huart2.Init.Parity = UART_PARITY_NONE;
  huart2.Init.Mode = UART_MODE_TX_RX;
  huart2.Init.HwFlowCtl = UART_HWCONTROL_NONE;
  huart2.Init.OverSampling = UART_OVERSAMPLING_16;
  huart2.Init.OneBitSampling = UART_ONE_BIT_SAMPLE_DISABLE;
  huart2.Init.ClockPrescaler = UART_PRESCALER_DIV1;
  huart2.AdvancedInit.AdvFeatureInit = UART_ADVFEATURE_NO_INIT;
  if (HAL_UART_Init(&huart2) != HAL_OK)
  {
    Error_Handler();
  }
  if (HAL_UARTEx_SetTxFifoThreshold(&huart2, UART_TXFIFO_THRESHOLD_1_8) != HAL_OK)
  {
    Error_Handler();
  }
  if (HAL_UARTEx_SetRxFifoThreshold(&huart2, UART_RXFIFO_THRESHOLD_1_8) != HAL_OK)
  {
    Error_Handler();
  }
  if (HAL_UARTEx_DisableFifoMode(&huart2) != HAL_OK)
  {
    Error_Handler();
  }

}

static void MX_USB_PCD_Init(void)
{

  hpcd_USB_DRD_FS.Instance = USB_DRD_FS;
  hpcd_USB_DRD_FS.Init.dev_endpoints = 8;
  hpcd_USB_DRD_FS.Init.speed = USBD_FS_SPEED;
  hpcd_USB_DRD_FS.Init.phy_itface = PCD_PHY_EMBEDDED;
  hpcd_USB_DRD_FS.Init.Sof_enable = DISABLE;
  hpcd_USB_DRD_FS.Init.low_power_enable = DISABLE;
  hpcd_USB_DRD_FS.Init.lpm_enable = DISABLE;
  hpcd_USB_DRD_FS.Init.battery_charging_enable = DISABLE;
  hpcd_USB_DRD_FS.Init.vbus_sensing_enable = DISABLE;
  hpcd_USB_DRD_FS.Init.bulk_doublebuffer_enable = DISABLE;
  hpcd_USB_DRD_FS.Init.iso_singlebuffer_enable = DISABLE;
  if (HAL_PCD_Init(&hpcd_USB_DRD_FS) != HAL_OK)
  {
    Error_Handler();
  }

}

static void MX_GPIO_Init(void)
{
  GPIO_InitTypeDef GPIO_InitStruct = {0};

  /* GPIO Ports Clock Enable */
  __HAL_RCC_GPIOC_CLK_ENABLE();
  __HAL_RCC_GPIOA_CLK_ENABLE();
  __HAL_RCC_GPIOB_CLK_ENABLE();

  /*Configure GPIO pin Output Level */
  HAL_GPIO_WritePin(GPIOC, Cs_Pin_Pin|Mcp_cs_Pin, GPIO_PIN_SET);

  /*Configure GPIO pin : PC4 */
  GPIO_InitStruct.Pin = GPIO_PIN_4;
  GPIO_InitStruct.Mode = GPIO_MODE_INPUT;
  GPIO_InitStruct.Pull = GPIO_NOPULL;
  HAL_GPIO_Init(GPIOC, &GPIO_InitStruct);

  /*Configure GPIO pins : Cs_Pin_Pin Mcp_cs_Pin */
  GPIO_InitStruct.Pin = Cs_Pin_Pin|Mcp_cs_Pin;
  GPIO_InitStruct.Mode = GPIO_MODE_OUTPUT_PP;
  GPIO_InitStruct.Pull = GPIO_NOPULL;
  GPIO_InitStruct.Speed = GPIO_SPEED_FREQ_LOW;
  HAL_GPIO_Init(GPIOC, &GPIO_InitStruct);

}

/* USER CODE BEGIN 4 */
uint32_t board_millis(void)
{
  return HAL_GetTick();
}
/* USER CODE END 4 */

void Error_Handler(void)
{
  __disable_irq();
  while (1)
  {
  }
}
